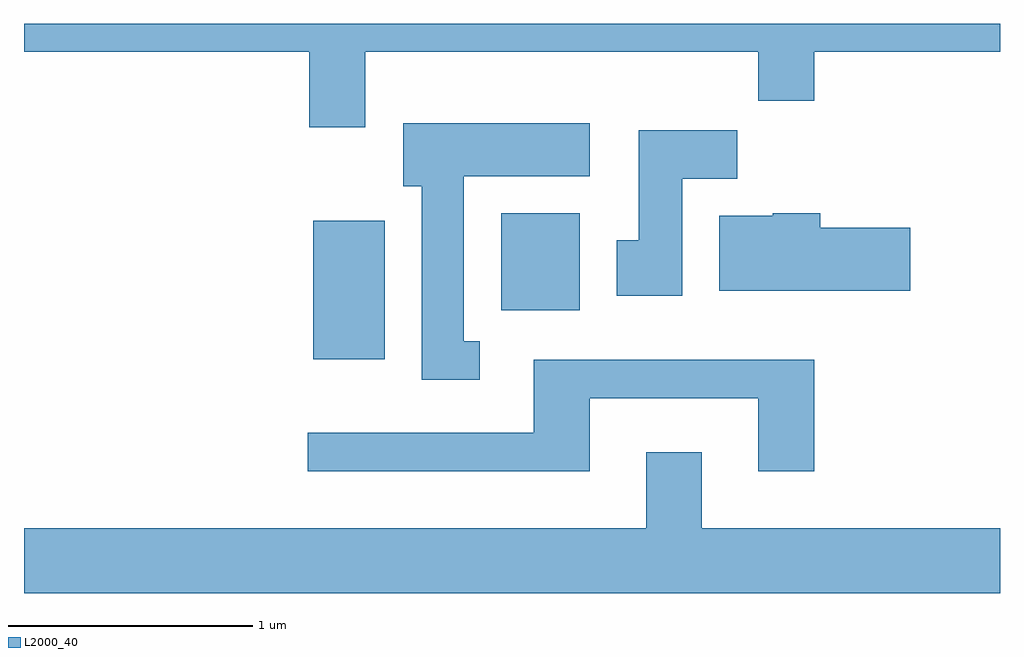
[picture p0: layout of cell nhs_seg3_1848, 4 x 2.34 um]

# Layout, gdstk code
import gdstk
lib = gdstk.Library(unit=1e-6, precision=1e-09)
def R(c, l, rs):  # rectangles x0, y0, x1, y1
    for r in rs: c.add(gdstk.rectangle(r[:2], r[2:], *l))
def P(c, l, *ps):  # polygons
    for p in ps: c.add(gdstk.Polygon(p, *l))
L2000_40 = (2000, 40)

nhs_seg3_1848 = lib.new_cell('nhs_seg3_1848')
R(nhs_seg3_1848, L2000_40, [(240.796,1142.516,241.089,1143.084), (241.566,1142.716,241.889,1143.114)])
P(nhs_seg3_1848, L2000_40, [(241.009,1143.776),(242.621,1143.776),(242.621,1143.576),(242.849,1143.576),(242.849,1143.776),(243.611,1143.776),(243.611,1143.892),(239.611,1143.892),(239.611,1143.776),(240.781,1143.776),(240.781,1143.466),(241.009,1143.466)],
  [(241.478,1142.589),(241.414,1142.589),(241.414,1143.266),(241.929,1143.266),(241.929,1143.484),(241.166,1143.484),(241.166,1143.226),(241.241,1143.226),(241.241,1142.431),(241.478,1142.431)],
  [(242.309,1143.256),(242.534,1143.256),(242.534,1143.454),(242.131,1143.454),(242.131,1143.004),(242.041,1143.004),(242.041,1142.776),(242.309,1142.776)],
  [(243.244,1143.054),(242.874,1143.054),(242.874,1143.114),(242.68,1143.114),(242.68,1143.104),(242.461,1143.104),(242.461,1142.796),(243.244,1142.796)],
  [(241.929,1142.356),(242.621,1142.356),(242.621,1142.056),(242.849,1142.056),(242.849,1142.514),(241.701,1142.514),(241.701,1142.214),(240.773,1142.214),(240.773,1142.056),(241.929,1142.056)],
  [(243.611,1141.824),(242.389,1141.824),(242.389,1142.134),(242.161,1142.134),(242.161,1141.824),(239.611,1141.824),(239.611,1141.556),(243.611,1141.556)])

lib.write_gds('nhs_seg3_1848.gds')
